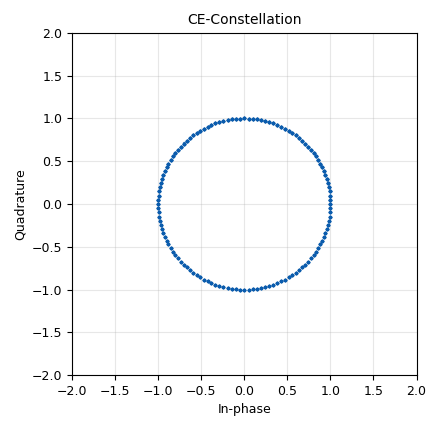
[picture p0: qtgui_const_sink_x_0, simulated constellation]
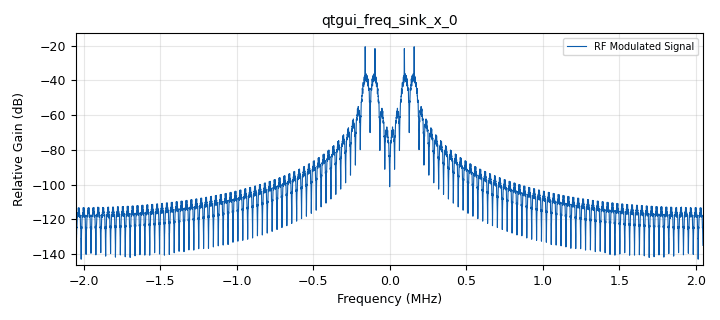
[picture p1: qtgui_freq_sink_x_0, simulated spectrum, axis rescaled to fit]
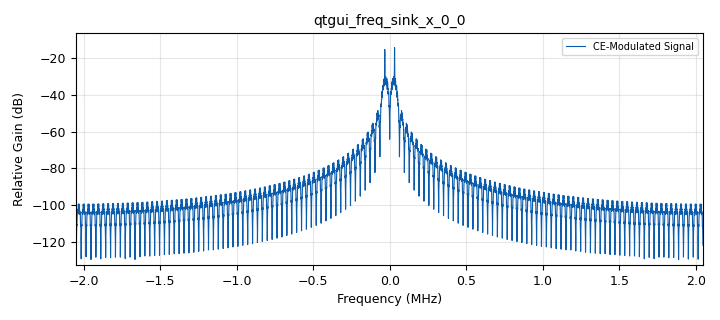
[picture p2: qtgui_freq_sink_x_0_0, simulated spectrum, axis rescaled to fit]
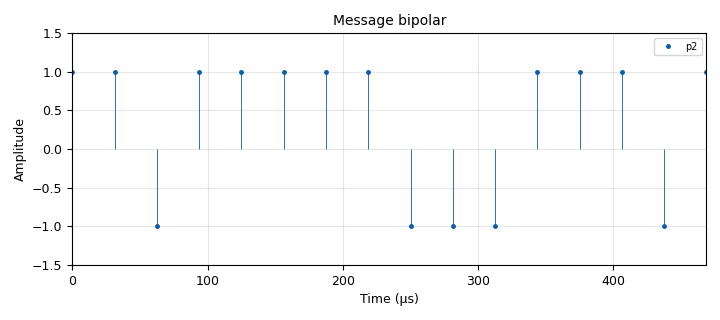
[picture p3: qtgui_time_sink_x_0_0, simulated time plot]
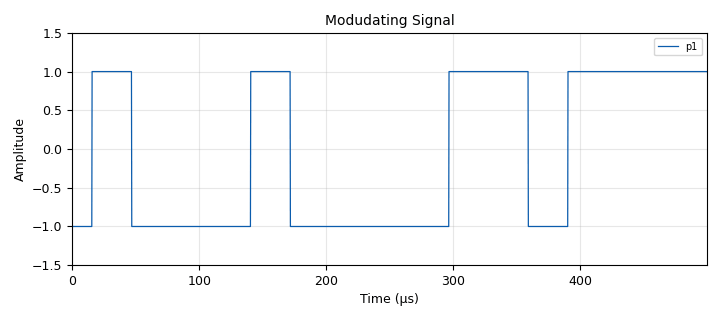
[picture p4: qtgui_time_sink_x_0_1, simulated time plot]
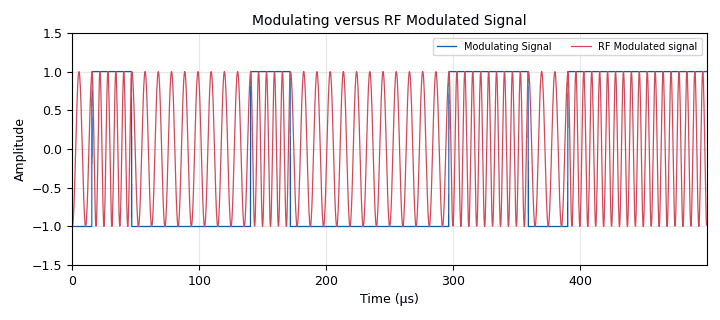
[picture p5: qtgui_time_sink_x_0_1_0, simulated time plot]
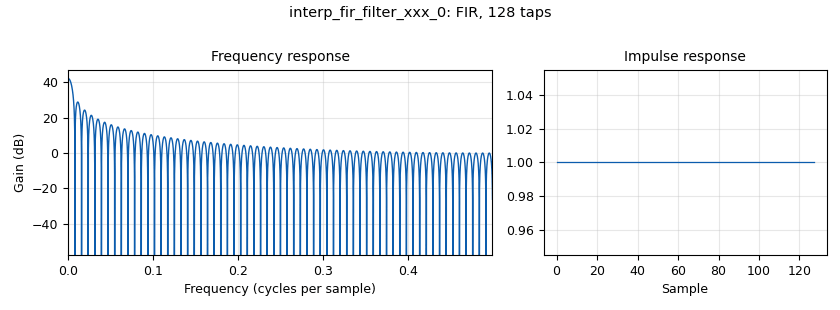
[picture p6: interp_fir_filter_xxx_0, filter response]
options:
  parameters:
    author: radiogis_director
    generate_options: qt_gui
    id: ook
    output_language: python
    title: ook
  states: {}

blocks:
- name: Rb
  id: variable
  parameters:
    value: '32000'
  states: {}
- name: Sps
  id: variable
  parameters:
    value: '128'
  states: {}
- name: fc
  id: variable_qtgui_range
  parameters:
    gui_hint: 0,0,1,1
    label: 'Carrier Freq. '
    start: '0'
    step: samp_rate/1000
    stop: samp_rate/8
    value: Rb*4
  states: {}
- name: fd
  id: variable_qtgui_range
  parameters:
    gui_hint: 0,1,1,1
    label: Deviation Freq
    start: '0'
    step: samp_rate/1000
    stop: samp_rate/8
    value: Rb
  states: {}
- name: h
  id: variable
  parameters:
    value: '[1]*Sps'
  states: {}
- name: samp_rate
  id: variable
  parameters:
    value: Rb*Sps
  states: {}
- name: Menu
  id: qtgui_tab_widget
  parameters:
    gui_hint: 4,0,1,2
    label0: Message
    label1: RF Modulated. Time Domain
    label2: RF Modulated. Freq Domain
    label3: Constellation
    num_tabs: '4'
  states: {}
- name: analog_const_source_x_0
  id: analog_const_source_x
  parameters:
    const: '1'
    type: float
  states: {}
- name: analog_random_source_x_0
  id: analog_random_source_x
  parameters:
    max: '2'
    min: '0'
    num_samps: '1000000'
    repeat: 'True'
    type: byte
  states: {}
- name: blocks_add_const_vxx_0
  id: blocks_add_const_vxx
  parameters:
    const: '-0.5'
    type: float
  states: {}
- name: blocks_char_to_float_0
  id: blocks_char_to_float
  parameters:
    scale: '1'
  states: {}
- name: blocks_multiply_const_vxx_0
  id: blocks_multiply_const_vxx
  parameters:
    const: 2*math.pi*fd/(Rb*Sps)
    type: float
  states: {}
- name: blocks_multiply_const_vxx_0_0
  id: blocks_multiply_const_vxx
  parameters:
    const: '2'
    type: float
  states: {}
- name: blocks_multiply_const_vxx_0_1_0
  id: blocks_multiply_const_vxx
  parameters:
    const: math.pi
    type: float
  states: {state: disabled}
- name: epy_block_0
  id: epy_block
  parameters:
    _source_code: |-
      import numpy as np
      from gnuradio import gr
      import math

      class blk(gr.sync_block):  
          """This block is a RF VCO and works as following: .....
      	Inputs:
      	1)We have the first input named A (input_items[0]) which controls the amplitude of the output signal.
      	2)The second input named Q (Q=input_items[1]) is responsible for varying the phase of the signal.
      	
      	Parameters:
      	For frequency and samp rate the default values are 128kHz and 320kHz respectively (this applies only if no external values are given).
      	only if no different external values are given).

      	Recommendations:
      	1)Special care should be taken with fc and samp_rate to avoid aliasing (samp_rate at least twice the carrier frequency).
      	twice the carrier frequency).
      	2) Both input one and input two should have the same length,
      	additionally very large numbers should be avoided to avoid distortion.
      	"""

          def __init__(self, fc=128000, samp_rate=320000): 
      	#Se llaman funciones inicializadores de Python para crear el bloque en GNU  
              gr.sync_block.__init__(
                  self,
                  name='e_RF_VCO_ff',   				#Le agregamos nombre
                  in_sig=[np.float32, np.float32],			#Definimos como flotante las dos señales de entrada
                  out_sig=[np.float32]				#Defninmos como flotante la señal de salida
              )
              self.fc = fc						#Se agrega el valor de la frecuencia portadora
              self.samp_rate = samp_rate				#Se agrega el valor de frecuencia de muestreo
              self.n_m=0						#Se inicializa el acumulador

          def work(self, input_items, output_items):
              A=input_items[0]
              Q=input_items[1]
              y=output_items[0]
              N=len(A)						#Numero de muestras a procesar
              n=np.linspace(self.n_m,self.n_m+N-1,N)			# Índice de tiempo para el bloque actual
              self.n_m += N						# Actualizar el índice de muestras para el siguiente bloque
              y[:]=A*np.cos(2*math.pi*self.fc*n/self.samp_rate+Q)     # Generar la señal de salida
              return len(output_items[0])
    fc: fc
    samp_rate: samp_rate
  states: {}
- name: epy_block_0_0
  id: epy_block
  parameters:
    _source_code: |
      import numpy as np
      from gnuradio import gr
      import math

      class blk(gr.sync_block):  
          """This block is a CE VCO or baseband VCO and works as following:
      	Baseband Signal Formation Aid 
      	Inputs:
      	1)We have the first input named A (input_items[0]) which controls the amplitude of the output signal.
      	2)The second input named Q (Q=input_items[1]) is responsible for varying the phase for the complex exponential.
      	
      	Parameters:
      	In this case we will not have additional parameters like fc or samp_rate.

      	Recommendations:
      	1)Both the first and the second input should have the same length.
      	2) Do not add high values for amplitude or radical variations so that Q does not generate unwanted spectral components.
      	unwanted spectral components
      	"""

          def __init__(self,):  
              gr.sync_block.__init__(
                  self,
                  name='e_CE_VCO_fc',   
                  in_sig=[np.float32, np.float32],
                  out_sig=[np.complex64]
              )
              
          def work(self, input_items, output_items):
              A=input_items[0]
              Q=input_items[1]
              y=output_items[0]
              N=len(A)
              y[:]=A*np.exp(1j*Q)			#Señal en banda base, componente compleja
              return len(output_items[0])
  states: {}
- name: epy_block_0_1
  id: epy_block
  parameters:
    _source_code: |
      """
      Embedded Python Blocks:

      Each time this file is saved, GRC will instantiate the first class it finds
      to get ports and parameters of your block. The arguments to __init__  will
      be the parameters. All of them are required to have default values!
      """

      import numpy as np
      from gnuradio import gr


      class blk(gr.sync_block):  # other base classes are basic_block, decim_block, interp_block
          """Embedded Python Block example - a simple multiply const"""

          def __init__(self,):  # only default arguments here
              """arguments to this function show up as parameters in GRC"""
              gr.sync_block.__init__(
                  self,
                  name='e_Acum',   # will show up in GRC
                  in_sig=[np.float32],
                  out_sig=[np.float32]
              )
              self.acum=0
              
          def work(self, input_items, output_items):
              x=input_items[0]
              y= output_items[0]


              y[:]=self.acum+np.cumsum(x)
              self.acum=y[-1]
              return len(y)
  states: {}
- name: import_0
  id: import
  parameters:
    imports: import math
  states: {}
- name: import_0_0
  id: import
  parameters:
    imports: import numpy as np
  states: {}
- name: interp_fir_filter_xxx_0
  id: interp_fir_filter_xxx
  parameters:
    interp: Sps
    taps: h
    type: fff
  states: {}
- name: interp_fir_filter_xxx_0_0_0
  id: interp_fir_filter_xxx
  parameters:
    interp: Sps
    taps: h
    type: fff
  states: {state: disabled}
- name: qtgui_const_sink_x_0
  id: qtgui_const_sink_x
  parameters:
    gui_hint: Menu@3:3,1,1,1
    name: '"CE-Constellation"'
    size: '1024'
    type: complex
    width1: '8'
  states: {}
- name: qtgui_freq_sink_x_0
  id: qtgui_freq_sink_x
  parameters:
    average: '0.05'
    bw: samp_rate
    fc: '0'
    fftsize: 1024*8
    gui_hint: Menu@2:2,1,1,1
    label1: RF Modulated Signal
    type: float
    width1: '2'
    ymax: '-35'
    ymin: '-65'
  states: {}
- name: qtgui_freq_sink_x_0_0
  id: qtgui_freq_sink_x
  parameters:
    average: '0.05'
    bw: samp_rate
    fc: '0'
    fftsize: 1024*8
    gui_hint: Menu@2:3,1,1,1
    label1: CE-Modulated Signal
    type: complex
    width1: '2'
    ymax: '-35'
    ymin: '-65'
  states: {}
- name: qtgui_time_sink_x_0_0
  id: qtgui_time_sink_x
  parameters:
    gui_hint: Menu@0:3,1,1,1
    label1: p2
    marker1: '0'
    name: '"Message bipolar"'
    size: '16'
    srate: Rb
    stemplot: 'True'
    type: float
    width1: '3'
    ymax: '1.5'
    ymin: '-1.5'
  states: {}
- name: qtgui_time_sink_x_0_1
  id: qtgui_time_sink_x
  parameters:
    gui_hint: Menu@0:4,1,1,1
    label1: p1
    name: Modudating Signal
    size: 16*Sps
    srate: samp_rate
    type: float
    width1: '3'
    ymax: '1.5'
    ymin: '-1.5'
  states: {}
- name: qtgui_time_sink_x_0_1_0
  id: qtgui_time_sink_x
  parameters:
    gui_hint: Menu@1:2,1,1,1
    label1: Modulating Signal
    label2: RF Modulated signal
    name: Modulating versus RF Modulated Signal
    nconnections: '2'
    size: 16*Sps
    srate: samp_rate
    type: float
    width1: '4'
    width2: '2'
    ymax: '1.5'
    ymin: '-1.5'
  states: {}
- name: qtgui_time_sink_x_0_1_0_0
  id: qtgui_time_sink_x
  parameters:
    gui_hint: Menu@1:3,1,1,1
    label1: I-Signal
    label2: Q-signal
    name: CE Modulated Signal
    size: 16*Sps
    srate: samp_rate
    type: complex
    width1: '2'
    width2: '2'
    ymax: '1.5'
    ymin: '-1.5'
  states: {}
- name: virtual_sink_0_0
  id: virtual_sink
  parameters:
    stream_id: p2
  states: {}
- name: virtual_sink_0_0_0
  id: virtual_sink
  parameters:
    stream_id: p3
  states: {}
- name: virtual_sink_0_0_0_0
  id: virtual_sink
  parameters:
    stream_id: p4
  states: {}
- name: virtual_sink_0_0_0_0_0
  id: virtual_sink
  parameters:
    stream_id: p4b
  states: {}
- name: virtual_source_0_0
  id: virtual_source
  parameters:
    stream_id: p2
  states: {}
- name: virtual_source_0_1
  id: virtual_source
  parameters:
    stream_id: p3
  states: {}
- name: virtual_source_0_1_0
  id: virtual_source
  parameters:
    stream_id: p4
  states: {}
- name: virtual_source_0_1_0_0
  id: virtual_source
  parameters:
    stream_id: p4b
  states: {}

connections:
- [analog_const_source_x_0, '0', epy_block_0, '0']
- [analog_const_source_x_0, '0', epy_block_0_0, '0']
- [analog_random_source_x_0, '0', blocks_char_to_float_0, '0']
- [blocks_add_const_vxx_0, '0', blocks_multiply_const_vxx_0_0, '0']
- [blocks_char_to_float_0, '0', blocks_add_const_vxx_0, '0']
- [blocks_char_to_float_0, '0', interp_fir_filter_xxx_0_0_0, '0']
- [blocks_multiply_const_vxx_0, '0', epy_block_0, '1']
- [blocks_multiply_const_vxx_0, '0', epy_block_0_0, '1']
- [blocks_multiply_const_vxx_0_0, '0', interp_fir_filter_xxx_0, '0']
- [blocks_multiply_const_vxx_0_0, '0', virtual_sink_0_0, '0']
- [blocks_multiply_const_vxx_0_1_0, '0', epy_block_0, '1']
- [blocks_multiply_const_vxx_0_1_0, '0', epy_block_0_0, '1']
- [epy_block_0, '0', virtual_sink_0_0_0_0, '0']
- [epy_block_0_0, '0', virtual_sink_0_0_0_0_0, '0']
- [epy_block_0_1, '0', blocks_multiply_const_vxx_0, '0']
- [interp_fir_filter_xxx_0, '0', epy_block_0_1, '0']
- [interp_fir_filter_xxx_0, '0', virtual_sink_0_0_0, '0']
- [interp_fir_filter_xxx_0_0_0, '0', blocks_multiply_const_vxx_0_1_0, '0']
- [interp_fir_filter_xxx_0_0_0, '0', virtual_sink_0_0_0, '0']
- [virtual_source_0_0, '0', qtgui_time_sink_x_0_0, '0']
- [virtual_source_0_1, '0', qtgui_time_sink_x_0_1, '0']
- [virtual_source_0_1, '0', qtgui_time_sink_x_0_1_0, '0']
- [virtual_source_0_1_0, '0', qtgui_freq_sink_x_0, '0']
- [virtual_source_0_1_0, '0', qtgui_time_sink_x_0_1_0, '1']
- [virtual_source_0_1_0_0, '0', qtgui_const_sink_x_0, '0']
- [virtual_source_0_1_0_0, '0', qtgui_freq_sink_x_0_0, '0']
- [virtual_source_0_1_0_0, '0', qtgui_time_sink_x_0_1_0_0, '0']

metadata:
  file_format: 1
  grc_version: 3.10.10.0
